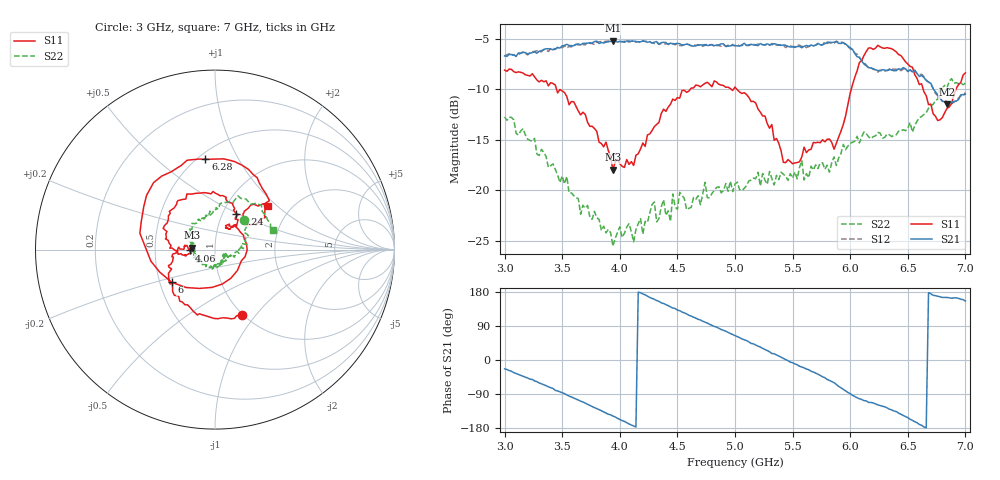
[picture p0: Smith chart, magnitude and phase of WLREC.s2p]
!Keysight Technologies N9918A: A.08.15
!Date: Thursday, 07 December 2017 12:41:14
!Timezone: (GMT-08:00) Pacific Time (US & Canada)
!Model: N9918A
!Serial: MY53103150
!GPS Latitude:
!GPS Longitude:
!GPS TimeStamp: 0001-01-01 00:00:00Z
!GPS Seconds Since Last Read: 0
!CHECKSUM:1617025970
!Correction: S11(ON U)S21(ON U)S12(ON U)S22(ON U)
!S2P File: Measurements:S11,S21,S12,S22:
# Hz S DB R 50
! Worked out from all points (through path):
!   201 points, 3 GHz to 7 GHz, reference 50 ohm
!   highest |S21| = -5.20 dB at 3.94 GHz (marker M1); lowest = -11.5 dB at 6.84 GHz (marker M2)
!   lowest |S11| = -18.0 dB at 3.94 GHz (marker M3), VSWR 1.29, Z = 38.8 + j0.813 ohm
!   |S11| at or under -10 dB: 3.451 GHz to 4.612 GHz (1.162 GHz wide, 28.8 % of centre); 5.016 GHz to 6.009 GHz (993.6 MHz wide, 18 % of centre); 6.634 GHz to 6.918 GHz (284.4 MHz wide, 4.2 % of centre)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
!   |S22| runs from -25.5 to -9.0 dB; largest |S21 - S12| = 0.021
!   S11 on the Smith chart (normalised r, x): 3 GHz: 0.99, -0.85; 4.06 GHz: 0.75, -0.01; 5.24 GHz: 1.16, +0.49; 6 GHz: 0.58, -0.23; 6.28 GHz: 0.55, +0.74; 7 GHz: 1.53, +0.87
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3e9  -8.11 -67.4  -6.70 -23.5  -6.68 -23.3  -12.74 45.2
3.4e9  -9.35 -131.6  -6.01 -73.1  -6.00 -73.5  -17.57 -3.4
3.68e9  -12.28 -170.4  -5.45 -110.7  -5.57 -110.2  -21.49 -28.0
3.94e9  -17.97 175.3  -5.20 -147.9  -5.28 -147.6  -25.54 -28.3
4.06e9  -16.96 -178.2  -5.22 -165.4  -5.27 -165.7  -23.66 -42.2
4.3e9  -13.70 -172.8  -5.34 160.1  -5.48 160.2  -21.18 -43.8
4.34e9  -13.29 -177.7  -5.54 154.7  -5.56 153.3  -22.80 -61.9
4.68e9  -9.63 138.9  -5.64 107.4  -5.59 108.3  -20.55 -85.5
5e9  -9.78 92.0  -5.66 64.2  -5.74 63.5  -19.39 -128.5
5.24e9  -12.66 59.6  -5.60 30.7  -5.58 30.6  -18.35 -153.6
5.42e9  -17.24 55.4  -5.62 3.9  -5.64 4.8  -18.42 -165.0
5.68e9  -15.28 50.1  -5.71 -31.7  -5.70 -32.4  -18.00 177.0
5.88e9  -15.35 -43.1  -5.29 -64.5  -5.23 -64.9  -17.56 160.9
6e9  -10.39 -143.1  -5.89 -88.6  -6.00 -89.8  -15.36 152.8
6.1e9  -7.14 159.2  -7.22 -104.1  -7.13 -103.9  -14.71 133.5
6.16e9  -5.91 132.6  -7.87 -112.0  -7.85 -111.4  -14.72 128.1
6.28e9  -5.92 96.1  -8.06 -122.1  -8.21 -122.0  -14.85 116.7
6.34e9  -5.95 80.2  -8.00 -129.7  -8.11 -128.2  -14.51 113.2
6.52e9  -7.74 43.0  -8.08 -156.2  -8.10 -155.7  -13.29 97.6
6.76e9  -13.10 38.6  -10.56 168.1  -10.63 166.9  -10.98 69.1
6.84e9  -11.91 52.1  -11.49 165.1  -11.27 164.2  -9.87 52.1
7e9  -8.38 39.8  -10.49 155.7  -10.32 156.4  -9.40 18.9
